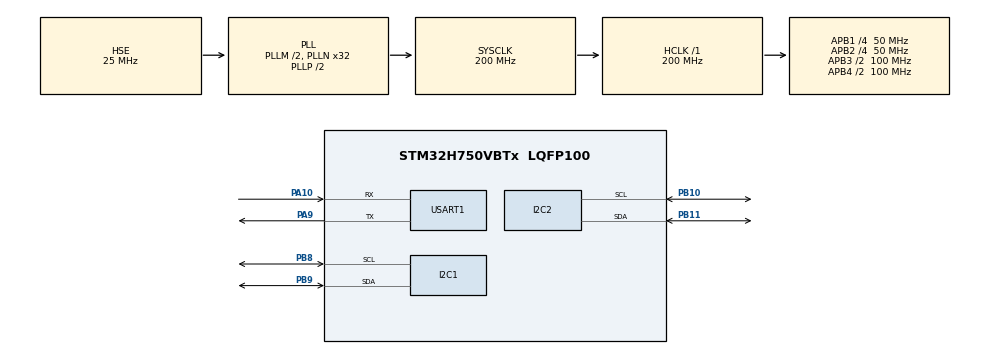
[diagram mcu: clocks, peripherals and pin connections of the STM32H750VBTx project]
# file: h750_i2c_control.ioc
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I2C1.Timing=0x00C0EAFF
I2C2.Timing=0x00C0EAFF
Mcu.Family=STM32H7
Mcu.Name=STM32H750VBTx
Mcu.Package=LQFP100
NVIC.PriorityGroup=NVIC_PRIORITYGROUP_4
PA10.Mode=Asynchronous
PA10.Signal=USART1_RX
PA13\ (JTMS/SWDIO).Mode=Serial_Wire
PA13\ (JTMS/SWDIO).Signal=DEBUG_JTMS-SWDIO
PA14\ (JTCK/SWCLK).Mode=Serial_Wire
PA14\ (JTCK/SWCLK).Signal=DEBUG_JTCK-SWCLK
PA9.Mode=Asynchronous
PA9.Signal=USART1_TX
PB10.Mode=I2C
PB10.Signal=I2C2_SCL
PB11.Mode=I2C
PB11.Signal=I2C2_SDA
PB8.Mode=I2C
PB8.Signal=I2C1_SCL
PB9.Mode=I2C
PB9.Signal=I2C1_SDA
PH0-OSC_IN\ (PH0).Mode=HSE-External-Oscillator
PH0-OSC_IN\ (PH0).Signal=RCC_OSC_IN
PH1-OSC_OUT\ (PH1).Mode=HSE-External-Oscillator
PH1-OSC_OUT\ (PH1).Signal=RCC_OSC_OUT
ProjectManager.HeapSize=0x200
ProjectManager.StackSize=0x400
ProjectManager.TargetToolchain=STM32CubeIDE
RCC.ADCFreq_Value=50390625
RCC.APB1Freq_Value=50000000
RCC.APB2Freq_Value=50000000
RCC.APB3Freq_Value=100000000
RCC.APB4Freq_Value=100000000
RCC.CortexFreq_Value=200000000
RCC.D1PPRE=RCC_APB3_DIV2
RCC.D2PPRE1=RCC_APB1_DIV4
RCC.D2PPRE2=RCC_APB2_DIV4
RCC.D3PPRE=RCC_APB4_DIV2
RCC.DIVM1=2
RCC.DIVN1=32
RCC.HCLKFreq_Value=200000000
RCC.HSE_VALUE=25000000
RCC.PLL2FRACN=0
RCC.PLL2_VCI_Range-AdvancedSettings=RCC_PLL2VCIRANGE_0
RCC.PLL3FRACN=0
RCC.PLL3_VCI_Range-AdvancedSettings=RCC_PLL3VCIRANGE_0
RCC.PLLFRACN=0
RCC.PLLSourceVirtual=RCC_PLLSOURCE_HSE
RCC.SYSCLKFreq_VALUE=200000000
RCC.SYSCLKSource=RCC_SYSCLKSOURCE_PLLCLK
RCC.USBFreq_Value=200000000
USART1.VirtualMode-Asynchronous=VM_ASYNC
board=custom

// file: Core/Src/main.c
/* USER CODE BEGIN Header */
/**
  ******************************************************************************
  * @file           : main.c
  * @brief          : Main program body
  ******************************************************************************
  * @attention
  *
  * Copyright (c) 2023 STMicroelectronics.
  * All rights reserved.
  *
  * This software is licensed under terms that can be found in the LICENSE file
  * in the root directory of this software component.
  * If no LICENSE file comes with this software, it is provided AS-IS.
  *
  ******************************************************************************
  */
/* USER CODE END Header */
#include "main.h"

/* USER CODE BEGIN Includes */
#include <stdio.h>
#include <string.h>
/* USER CODE END Includes */

I2C_HandleTypeDef hi2c1;
I2C_HandleTypeDef hi2c2;

UART_HandleTypeDef huart1;

void SystemClock_Config(void);
static void MX_GPIO_Init(void);
static void MX_I2C1_Init(void);
static void MX_I2C2_Init(void);
static void MX_USART1_UART_Init(void);

/* USER CODE BEGIN 0 */
//uint8_t Space[] = " - ";
uint8_t NewLine[] = "\r\n Writing I2C data: \r\n";
uint8_t StartMSG1[] = "\r\n Starting I2C_1 Scanning: \r\n";
uint8_t StartMSG2[] = "\r\n Starting I2C_2 Scanning: \r\n";
char buf[8] = {0,};
/* USER CODE END 0 */

int main(void)
{
  /* USER CODE BEGIN 1 */
	uint8_t Buf20[20]   = {0x04,0x05,0x06,0x07,0x08,0x09,0x0A,0x0B,0x0C,0x0E,0x0F,0x10,0x11,0x12,0x13,0x14,0x15,0x16,0x17,0x1C};
	uint8_t Init10[20]  = {0xB0,0x8B,0x43,0x40,0x40,0x11,0x06,0x00,0x01,0xB1,0x41,0x22,0xA9,0x41,0x22,0xFF,0xFF,0x00,0x30,0x00};
	uint8_t Init11[20]  = {0xB0,0x8B,0x43,0x40,0x40,0x11,0x06,0x01,0x01,0xB1,0x41,0x22,0xA9,0x41,0x22,0xFF,0xFF,0x00,0x30,0x00};
	uint8_t Init12[20]  = {0xB0,0x8B,0x43,0x40,0x40,0x11,0x06,0x02,0x01,0xB1,0x41,0x22,0xA9,0x41,0x22,0xFF,0xFF,0x00,0x30,0x00};
	char strs[20][20] = {"POWER_CTRL","AMP_DAC_CTRL","DAC_CTRL","VOL_LEFT_CTRL","VOL_RIGHT_CTRL",
						"SAI_CTRL1","SAI_CTRL2","SLOT_LEFT_CTRL","SLOT_RIGHT_CTRL","LIM_LEFT_CTRL1",
						"LIM_LEFT_CTRL2","LIM_LEFT_CTRL3","LIM_RIGHT_CTRL1","LIM_RIGHT_CTRL2","LIM_RIGHT_CTRL3",
						"CLIP_LEFT_CTRL","CLIP_RIGHT_CTRL","FAULT_CTRL1","FAULT_CTRL2","SOFT_RESET"};
  /* USER CODE END 1 */

  /* MCU Configuration--------------------------------------------------------*/

  /* Reset of all peripherals, Initializes the Flash interface and the Systick. */
  HAL_Init();

  /* USER CODE BEGIN Init */
	uint8_t i = 0, ret;
	uint8_t Buf0[1];
	uint8_t Buf1[1];
	uint8_t Buf2[1];
	uint8_t dB10[1];
	uint8_t dB11[1];
	uint8_t dB12[1];
	char log[55] = {0,};
	//bool send_usart = 0;
	//uint16_t count = 190;
  /* USER CODE END Init */

  /* Configure the system clock */
  SystemClock_Config();

  /* Initialize all configured peripherals */
  MX_GPIO_Init();
  MX_I2C1_Init();
  MX_I2C2_Init();
  MX_USART1_UART_Init();
  /* USER CODE BEGIN 2 */

  HAL_Delay(50);
  HAL_UART_Transmit(&huart1, StartMSG1, sizeof(StartMSG1), 10000);
  for(i=16; i<19; i++)
  {
     ret = HAL_I2C_IsDeviceReady(&hi2c1, (uint16_t)(i<<1), 3, 5);
      //if (ret != HAL_OK) // No ACK Received At That Address
      //{
      //    HAL_UART_Transmit(&huart1, Space, sizeof(Space), 10000);
      //}
      //else if(ret == HAL_OK)
       if (ret == HAL_OK)
     {
    	  sprintf(buf, "0x%X \r\n", i);
          HAL_UART_Transmit(&huart1, (uint8_t *)buf, sizeof(buf), 10000);
      }
  };
  HAL_UART_Transmit(&huart1, StartMSG2, sizeof(StartMSG2), 10000);
  HAL_Delay(50);
  for(i=16; i<19; i++)
  {
     ret = HAL_I2C_IsDeviceReady(&hi2c2, (uint16_t)(i<<1), 3, 5);
      //if (ret != HAL_OK) // No ACK Received At That Address
      //{
      //    HAL_UART_Transmit(&huart1, Space, sizeof(Space), 10000);
      //}
      //else if(ret == HAL_OK)
       if (ret == HAL_OK)
     {
    	  sprintf(buf, "0x%X \r\n", i);
          HAL_UART_Transmit(&huart1, (uint8_t *)buf, sizeof(buf), 10000);
      }
  };
  HAL_Delay(50);
  HAL_UART_Transmit(&huart1, NewLine, sizeof(NewLine), 10000);
  HAL_Delay(100);
  for(i=0; i<20; i++)
  {
	  dB10[0] = Init10[i]; dB11[0] = Init11[i]; dB12[0] = Init12[i];
	  HAL_I2C_Mem_Write(&hi2c1, (0x10 << 1), Buf20[i], I2C_MEMADD_SIZE_8BIT, dB10, 1, 100);
	  HAL_Delay(2);
	  HAL_I2C_Mem_Read(&hi2c1, (0x10 << 1), Buf20[i], I2C_MEMADD_SIZE_8BIT, Buf0, 1, 100);
	  HAL_I2C_Mem_Write(&hi2c1, (0x11 << 1), Buf20[i], I2C_MEMADD_SIZE_8BIT, dB11, 1, 100);
	  HAL_Delay(2);
	  HAL_I2C_Mem_Read(&hi2c1, (0x11 << 1), Buf20[i], I2C_MEMADD_SIZE_8BIT, Buf1, 1, 100);
	  HAL_I2C_Mem_Write(&hi2c1, (0x12 << 1), Buf20[i], I2C_MEMADD_SIZE_8BIT, dB12, 1, 100);
	  HAL_Delay(2);
	  HAL_I2C_Mem_Read(&hi2c1, (0x12 << 1), Buf20[i], I2C_MEMADD_SIZE_8BIT, Buf2, 1, 100);
	  sprintf(log, " 0x%X 0x%X 0x%X : %s I2C1 Adrs 0x%X\r\n", Buf0[0], Buf1[0], Buf2[0], strs[i], Buf20[i]);
	  HAL_UART_Transmit(&huart1, (uint8_t *)log, strlen(log), 100);
	  HAL_I2C_Mem_Write(&hi2c2, (0x10 << 1), Buf20[i], I2C_MEMADD_SIZE_8BIT, dB10, 1, 100);
	  HAL_Delay(2);
	  HAL_I2C_Mem_Read(&hi2c2, (0x10 << 1), Buf20[i], I2C_MEMADD_SIZE_8BIT, Buf0, 1, 100);
	  HAL_I2C_Mem_Write(&hi2c2, (0x11 << 1), Buf20[i], I2C_MEMADD_SIZE_8BIT, dB11, 1, 100);
	  HAL_Delay(2);
	  HAL_I2C_Mem_Read(&hi2c2, (0x11 << 1), Buf20[i], I2C_MEMADD_SIZE_8BIT, Buf1, 1, 100);
	  HAL_I2C_Mem_Write(&hi2c2, (0x12 << 1), Buf20[i], I2C_MEMADD_SIZE_8BIT, dB12, 1, 100);
	  HAL_Delay(2);
	  HAL_I2C_Mem_Read(&hi2c2, (0x12 << 1), Buf20[i], I2C_MEMADD_SIZE_8BIT, Buf2, 1, 100);
	  sprintf(log, " 0x%X 0x%X 0x%X : %s I2C2 Adrs 0x%X\r\n", Buf0[0], Buf1[0], Buf2[0], strs[i], Buf20[i]);
	  HAL_UART_Transmit(&huart1, (uint8_t *)log, strlen(log), 100);
  }

  /* USER CODE END 2 */

  /* Infinite loop */
  while (1)
  {

  }
}

void SystemClock_Config(void)
{
  RCC_OscInitTypeDef RCC_OscInitStruct = {0};
  RCC_ClkInitTypeDef RCC_ClkInitStruct = {0};

  /** Supply configuration update enable
  */
  HAL_PWREx_ConfigSupply(PWR_LDO_SUPPLY);

  /** Configure the main internal regulator output voltage
  */
  __HAL_PWR_VOLTAGESCALING_CONFIG(PWR_REGULATOR_VOLTAGE_SCALE3);

  while(!__HAL_PWR_GET_FLAG(PWR_FLAG_VOSRDY)) {}

  /** Initializes the RCC Oscillators according to the specified parameters
  * in the RCC_OscInitTypeDef structure.
  */
  RCC_OscInitStruct.OscillatorType = RCC_OSCILLATORTYPE_HSE;
  RCC_OscInitStruct.HSEState = RCC_HSE_ON;
  RCC_OscInitStruct.PLL.PLLState = RCC_PLL_ON;
  RCC_OscInitStruct.PLL.PLLSource = RCC_PLLSOURCE_HSE;
  RCC_OscInitStruct.PLL.PLLM = 2;
  RCC_OscInitStruct.PLL.PLLN = 32;
  RCC_OscInitStruct.PLL.PLLP = 2;
  RCC_OscInitStruct.PLL.PLLQ = 2;
  RCC_OscInitStruct.PLL.PLLR = 2;
  RCC_OscInitStruct.PLL.PLLRGE = RCC_PLL1VCIRANGE_3;
  RCC_OscInitStruct.PLL.PLLVCOSEL = RCC_PLL1VCOWIDE;
  RCC_OscInitStruct.PLL.PLLFRACN = 0;
  if (HAL_RCC_OscConfig(&RCC_OscInitStruct) != HAL_OK)
  {
    Error_Handler();
  }

  /** Initializes the CPU, AHB and APB buses clocks
  */
  RCC_ClkInitStruct.ClockType = RCC_CLOCKTYPE_HCLK|RCC_CLOCKTYPE_SYSCLK
                              |RCC_CLOCKTYPE_PCLK1|RCC_CLOCKTYPE_PCLK2
                              |RCC_CLOCKTYPE_D3PCLK1|RCC_CLOCKTYPE_D1PCLK1;
  RCC_ClkInitStruct.SYSCLKSource = RCC_SYSCLKSOURCE_PLLCLK;
  RCC_ClkInitStruct.SYSCLKDivider = RCC_SYSCLK_DIV1;
  RCC_ClkInitStruct.AHBCLKDivider = RCC_HCLK_DIV1;
  RCC_ClkInitStruct.APB3CLKDivider = RCC_APB3_DIV2;
  RCC_ClkInitStruct.APB1CLKDivider = RCC_APB1_DIV4;
  RCC_ClkInitStruct.APB2CLKDivider = RCC_APB2_DIV4;
  RCC_ClkInitStruct.APB4CLKDivider = RCC_APB4_DIV2;

  if (HAL_RCC_ClockConfig(&RCC_ClkInitStruct, FLASH_LATENCY_4) != HAL_OK)
  {
    Error_Handler();
  }
}

static void MX_I2C1_Init(void)
{

  hi2c1.Instance = I2C1;
  hi2c1.Init.Timing = 0x00C0EAFF;
  hi2c1.Init.OwnAddress1 = 0;
  hi2c1.Init.AddressingMode = I2C_ADDRESSINGMODE_7BIT;
  hi2c1.Init.DualAddressMode = I2C_DUALADDRESS_DISABLE;
  hi2c1.Init.OwnAddress2 = 0;
  hi2c1.Init.OwnAddress2Masks = I2C_OA2_NOMASK;
  hi2c1.Init.GeneralCallMode = I2C_GENERALCALL_DISABLE;
  hi2c1.Init.NoStretchMode = I2C_NOSTRETCH_DISABLE;
  if (HAL_I2C_Init(&hi2c1) != HAL_OK)
  {
    Error_Handler();
  }

  /** Configure Analogue filter
  */
  if (HAL_I2CEx_ConfigAnalogFilter(&hi2c1, I2C_ANALOGFILTER_ENABLE) != HAL_OK)
  {
    Error_Handler();
  }

  /** Configure Digital filter
  */
  if (HAL_I2CEx_ConfigDigitalFilter(&hi2c1, 0) != HAL_OK)
  {
    Error_Handler();
  }

}

static void MX_I2C2_Init(void)
{

  hi2c2.Instance = I2C2;
  hi2c2.Init.Timing = 0x00C0EAFF;
  hi2c2.Init.OwnAddress1 = 0;
  hi2c2.Init.AddressingMode = I2C_ADDRESSINGMODE_7BIT;
  hi2c2.Init.DualAddressMode = I2C_DUALADDRESS_DISABLE;
  hi2c2.Init.OwnAddress2 = 0;
  hi2c2.Init.OwnAddress2Masks = I2C_OA2_NOMASK;
  hi2c2.Init.GeneralCallMode = I2C_GENERALCALL_DISABLE;
  hi2c2.Init.NoStretchMode = I2C_NOSTRETCH_DISABLE;
  if (HAL_I2C_Init(&hi2c2) != HAL_OK)
  {
    Error_Handler();
  }

  /** Configure Analogue filter
  */
  if (HAL_I2CEx_ConfigAnalogFilter(&hi2c2, I2C_ANALOGFILTER_ENABLE) != HAL_OK)
  {
    Error_Handler();
  }

  /** Configure Digital filter
  */
  if (HAL_I2CEx_ConfigDigitalFilter(&hi2c2, 0) != HAL_OK)
  {
    Error_Handler();
  }

}

static void MX_USART1_UART_Init(void)
{

  huart1.Instance = USART1;
  huart1.Init.BaudRate = 115200;
  huart1.Init.WordLength = UART_WORDLENGTH_8B;
  huart1.Init.StopBits = UART_STOPBITS_1;
  huart1.Init.Parity = UART_PARITY_NONE;
  huart1.Init.Mode = UART_MODE_TX_RX;
  huart1.Init.HwFlowCtl = UART_HWCONTROL_NONE;
  huart1.Init.OverSampling = UART_OVERSAMPLING_16;
  huart1.Init.OneBitSampling = UART_ONE_BIT_SAMPLE_DISABLE;
  huart1.Init.ClockPrescaler = UART_PRESCALER_DIV1;
  huart1.AdvancedInit.AdvFeatureInit = UART_ADVFEATURE_NO_INIT;
  if (HAL_UART_Init(&huart1) != HAL_OK)
  {
    Error_Handler();
  }
  if (HAL_UARTEx_SetTxFifoThreshold(&huart1, UART_TXFIFO_THRESHOLD_1_8) != HAL_OK)
  {
    Error_Handler();
  }
  if (HAL_UARTEx_SetRxFifoThreshold(&huart1, UART_RXFIFO_THRESHOLD_1_8) != HAL_OK)
  {
    Error_Handler();
  }
  if (HAL_UARTEx_DisableFifoMode(&huart1) != HAL_OK)
  {
    Error_Handler();
  }

}

static void MX_GPIO_Init(void)
{

  /* GPIO Ports Clock Enable */
  __HAL_RCC_GPIOH_CLK_ENABLE();
  __HAL_RCC_GPIOB_CLK_ENABLE();
  __HAL_RCC_GPIOA_CLK_ENABLE();

}

void Error_Handler(void)
{
  __disable_irq();
  while (1)
  {
  }
}
